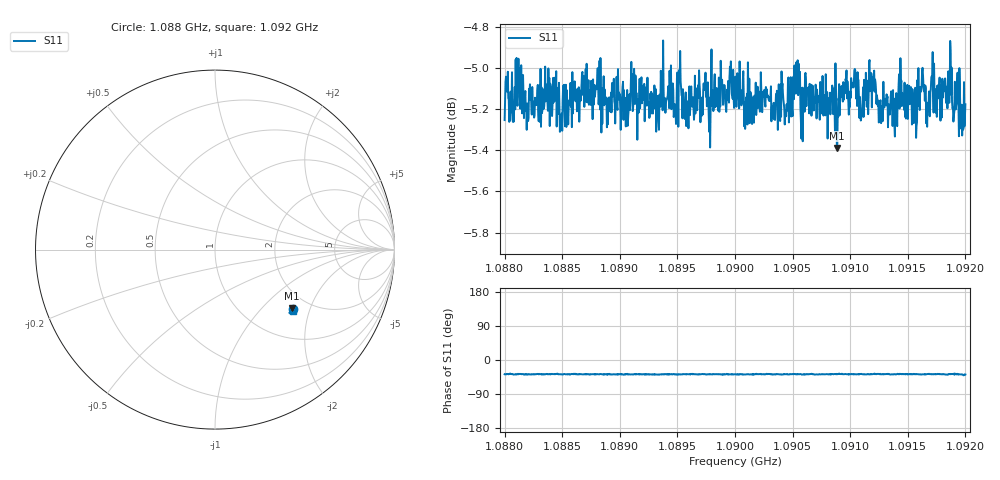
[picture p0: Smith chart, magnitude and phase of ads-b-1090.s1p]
! Calibrated averaged scanner-service zoom
# Hz S RI R 50
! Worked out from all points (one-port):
!   1001 points, 1.088 GHz to 1.092 GHz, reference 50 ohm
!   lowest |S11| = -5.4 dB at 1.09089 GHz (marker M1), VSWR 3.33, Z = 82 - j75.1 ohm
!   |S11| at or under -10 dB: nowhere
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1.088e9  0.4332 -0.3326
1.088124e9  0.4448 -0.3329
1.088188e9  0.4406 -0.33
1.08844e9  0.4446 -0.3355
1.0885e9  0.4292 -0.3326
1.0886e9  0.4475 -0.3292
1.088692e9  0.4388 -0.3321
1.089e9  0.4382 -0.3393
1.0895e9  0.4394 -0.3486
1.089576e9  0.4281 -0.3363
1.09e9  0.4418 -0.3382
1.090288e9  0.4424 -0.3324
1.090336e9  0.4354 -0.3385
1.0905e9  0.4348 -0.3326
1.090544e9  0.4454 -0.3473
1.090588e9  0.4253 -0.3323
1.090664e9  0.4413 -0.3241
1.090708e9  0.4325 -0.3343
1.090888e9  0.4278 -0.3257
1.091e9  0.4428 -0.3346
1.0915e9  0.4358 -0.3298
1.091628e9  0.4449 -0.344
1.091672e9  0.4413 -0.3305
1.091764e9  0.4451 -0.3348
1.091832e9  0.431 -0.3441
1.091872e9  0.4547 -0.3399
1.091908e9  0.4538 -0.3248
1.092e9  0.4325 -0.3415
